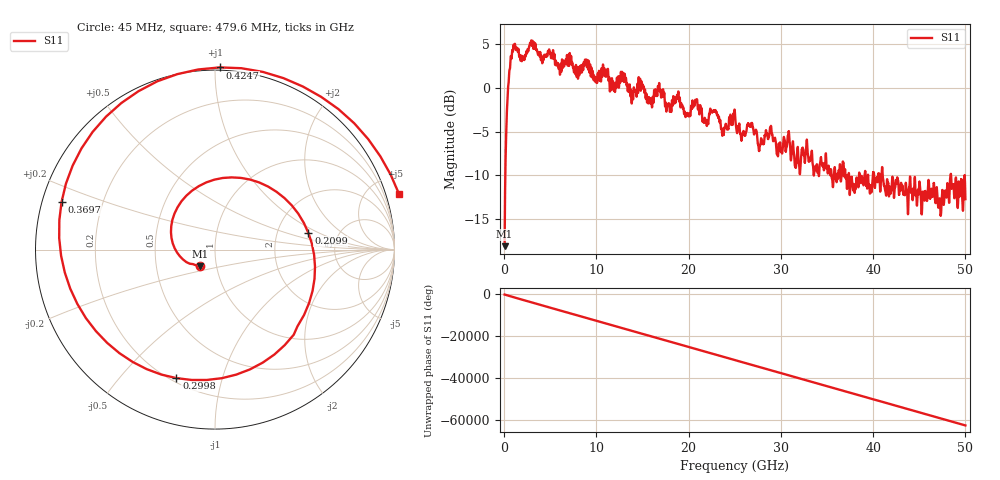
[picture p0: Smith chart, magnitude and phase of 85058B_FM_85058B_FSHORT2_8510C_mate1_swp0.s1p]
!Created with skrf (http://scikit-rf.org).
# Hz S RI R 50.0
!freq ReS11 ImS11
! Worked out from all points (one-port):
!   10001 points, 45 MHz to 50 GHz, reference 50 ohm
!   lowest |S11| = -18.2 dB at 45 MHz (marker M1), VSWR 1.28, Z = 41.8 - j7.89 ohm
!   |S11| at or under -10 dB: 37.38 GHz to 38.47 GHz (1.083 GHz wide, 2.86 % of centre); 41.03 GHz to 48.4 GHz (7.363 GHz wide, 16.5 % of centre); 48.45 GHz to 49.91 GHz (1.468 GHz wide, 2.98 % of centre) (the widest 3 of 22)
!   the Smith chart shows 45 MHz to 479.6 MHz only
!   S11 on the Smith chart (normalised r, x): 45 MHz: 0.84, -0.16; 209.9 MHz: 3.02, +0.78; 299.8 MHz: 0.22, -0.72; 369.7 MHz: 0.06, +0.15; 424.7 MHz: -0.02, +1.03; 479.6 MHz: -1.55, +6.45
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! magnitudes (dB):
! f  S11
! 45 MHz  -18.2
! 209.9 MHz  -5.5
! 299.8 MHz  -2.5
! 369.7 MHz  -1.0
! 424.7 MHz  0.1
! 479.6 MHz  0.6
! 789.3 MHz  3.4
! 1.169 GHz  5.1
! 1.978 GHz  3.7
! 3.022 GHz  4.9
! 6.289 GHz  3.1
! 12.53 GHz  1.1
! 15.83 GHz  -1.2
! 16.72 GHz  -0.2
! 18.78 GHz  -1.0
! 19.84 GHz  -3.0
! 20.86 GHz  -1.4
! 21.75 GHz  -3.4
! 22.83 GHz  -2.6
! 23.71 GHz  -5.3
! 25.02 GHz  -3.0
! 31.27 GHz  -6.6
! 37.51 GHz  -11.4
! 43.76 GHz  -14.2
! 46.45 GHz  -12.4
! 47.21 GHz  -12.7
! 48.53 GHz  -11.5
! 50 GHz  -12.8
